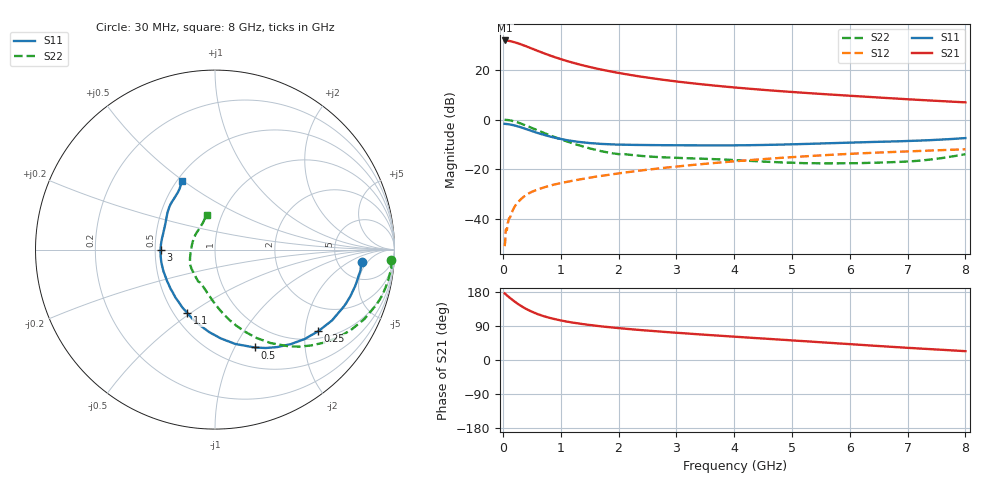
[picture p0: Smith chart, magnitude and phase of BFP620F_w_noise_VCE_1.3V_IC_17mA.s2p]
! Infineon Technologies  Discrete & RF Semiconductors
! BFP620F
! VCE =  1.3 V,  IC =  17 mA
! Common Emitter S-Parameters:  Dec 2014
# GHz  S  MA  R  50
!  f  S11  S21  S12  S22
! GHz  MAG  ANG  MAG  ANG  MAG  ANG  MAG  ANG
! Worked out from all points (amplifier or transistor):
!   95 points, 30 MHz to 8 GHz, reference 50 ohm
!   highest |S21| = 31.9 dB at 40 MHz (marker M1)
!   |S21| within 3 dB of that: start of sweep to 472.3 MHz
!   unconditionally stable (mu >= 1): 3.215 GHz to end of sweep
!   at 300 MHz: K = 0.25, MSG = 31.4 dB, |S12| = -32.4 dB
!   at 3.3 GHz: K = 1.00, MAG = 16.1 dB, |S12| = -18.3 dB
!   at 8 GHz: K = 1.07, MAG = 7.9 dB, |S12| = -12.0 dB
!   lowest NFmin = 0.76 dB at 450 MHz
!   S11 on the Smith chart (normalised r, x): 30 MHz: 8.58, -3.59; 250 MHz: 1.19, -2.35; 500 MHz: 0.72, -1.20; 1.1 GHz: 0.58, -0.48; 3 GHz: 0.53, -0.00; 8 GHz: 0.53, +0.49
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0.03  0.8197 -4.8  39.38 175.8  0.0028 92.3  0.9844 -3.4
0.04  0.8183 -6.5  39.39 174.4  0.0034 85.8  0.9852 -4.8
0.09  0.8073 -14.5  38.91 167.9  0.0085 86.3  0.9764 -11.5
0.15  0.785 -23.8  37.64 160.4  0.0131 80.1  0.9491 -19.0
0.2  0.762 -31.2  36.26 154.6  0.0173 75.9  0.9173 -25.0
0.25  0.7334 -38.3  34.85 149.1  0.021 71.6  0.88 -30.6
0.3  0.7056 -44.9  33.31 144.0  0.024 69.7  0.8405 -35.8
0.4  0.644 -57.5  30.18 135.0  0.0299 65.4  0.7563 -44.9
0.5  0.588 -68.0  27.08 127.6  0.0349 63.1  0.6786 -52.6
0.6  0.5376 -77.9  24.34 121.2  0.0389 60.2  0.6063 -59.2
0.7  0.4958 -86.3  21.95 116.0  0.0425 58.6  0.5435 -64.9
0.8  0.4605 -94.1  19.87 111.6  0.046 57.7  0.489 -69.7
0.9  0.4302 -101.1  18.1 107.8  0.0494 57.2  0.4418 -74.2
1.1  0.3855 -113.7  15.26 101.5  0.0552 56.3  0.365 -82.2
1.4  0.3462 -129.6  12.28 94.4  0.0641 56.0  0.2838 -92.8
2  0.3127 -153.8  8.731 84.2  0.0821 55.2  0.2011 -114.2
2.7  0.3051 -172.8  6.515 75.3  0.1036 53.2  0.175 -133.6
3  0.3034 -179.3  5.879 71.9  0.1127 52.1  0.1696 -140.1
4.1  0.3033 161.4  4.346 60.6  0.1469 47.1  0.1505 -157.9
5.4  0.327 145.3  3.35 47.8  0.1866 39.2  0.1318 173.5
6.7  0.3609 130.6  2.696 35.0  0.2209 30.1  0.1379 140.2
8  0.4235 116.1  2.224 23.3  0.2515 21.2  0.2 103.3
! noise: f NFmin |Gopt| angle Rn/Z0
0.45  0.76  0.1  6  0.21
0.9  0.82  0.1  17  0.18
1.5  0.87  0.09  18  0.13
1.8  0.89  0.09  19  0.13
1.9  0.9  0.05  35  0.15
2.4  0.94  0.04  56  0.13
3.5  1.02  0.04  106  0.14
5.5  1.16  0.12  -145  0.09
6  1.2  0.12  240  0.13
